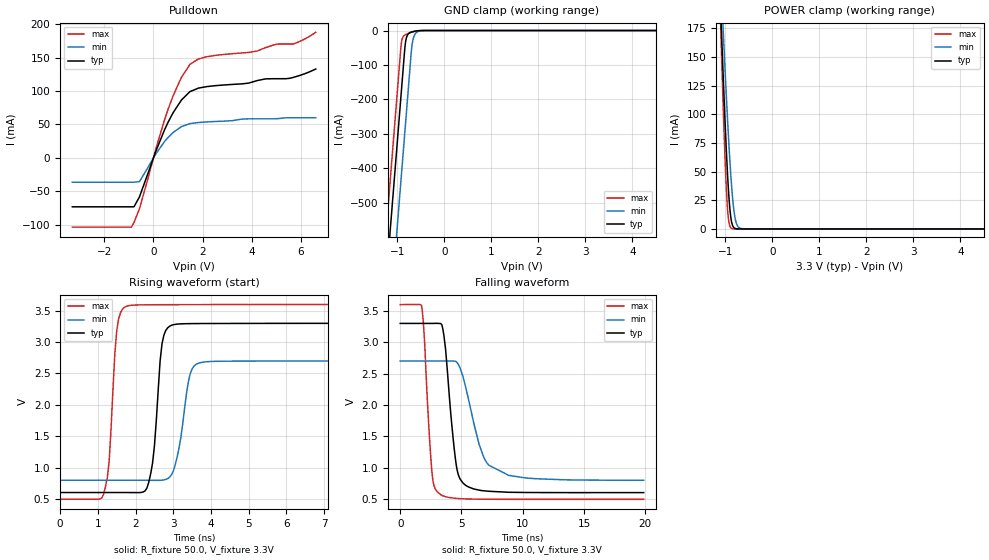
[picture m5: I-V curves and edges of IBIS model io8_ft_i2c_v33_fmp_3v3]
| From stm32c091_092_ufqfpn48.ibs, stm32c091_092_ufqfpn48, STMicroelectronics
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[Model]   io8_ft_i2c_v33_fmp_3v3
Model_type I/O_open_drain
Polarity   Non-Inverting
Enable   Active-Low
| CAP_THRESHOLD on pad IOFT is "UDTCAPC" :
| Rising=30.0% of vddiom   Falling=70.0% of vddiom
| C_comp min and max val. don't necessarily correlate with the min and max pvt
| but are the smallest and greatest pad capacitance found.
| var   typ   min   max
C_comp   2.42225pF  2.36943pF  2.43852pF
|C_comp_pulldown   2.42225pF  2.36943pF  2.43852pF
Vinl = 1.35V
Vinh = 1.8V
Vmeas = 1.65V   | Reference voltage for timing measurements
Cref  = 50.0pF   | Timing specification test load capacitance value
Rref  = 1.0MOhm   | Timing specification test load resistance value
Vref  = 1.815V   | Timing specification test load voltage
[Model Spec]
| TIME_THRESHOLD on pin ZII2CV12 is "CMOS" :
| Rising=50.0% of vdd   Falling=50.0% of vdd
Vinl 1.34770V 1.11370V 1.44970V
Vinh 1.77530V 1.49530V 1.90330V
| variable   typ   min   max
[Temperature Range] 25.0 125.0 -40.0
| variable   typ   min   max
[Voltage Range] 3.3V 2.7V 3.6V
| variable   typ   min   max
[POWER Clamp Reference] 3.3V 2.7V 3.6V
| variable   typ   min   max
[GND Clamp Reference] 0V 0V 0V
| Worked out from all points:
|   slope of the pulldown table from 0 to 0.495 V, typ, clamps not added: 10.9 ohm
|   GND clamp passes 1 mA (typ) near -0.58 V on its own axis
|   POWER clamp passes 1 mA (typ) near -0.81 V on its own axis
|   rising waveform, R_fixture 50.0, V_fixture 3.3V: 20-80 % time 199ps typ, 282ps min, 172ps max; typ from 0.603 V to 3.3 V
|   falling waveform, R_fixture 50.0, V_fixture 3.3V: 20-80 % time 749ps typ, 1.5ns min, 520ps max; typ from 3.3 V to 0.603 V
[POWER Clamp]
-3.3V     2.991A     2.543A     3.694A
-1.1V     191.1mA    222.7mA    177.1mA
-1.08V    169mA      204.2mA    149.9mA
-1.05V    136.9mA    176.9mA    110.9mA
-1.01V    96.55mA    141.6mA    64.02mA
-970mV    60.39mA    108.2mA    27.41mA
-930mV    31.08mA    77.43mA    7.282mA
-900mV    15.67mA    56.69mA    2.025mA
-860mV    4.779mA    33.42mA    315.2uA
-780mV    272.1uA    6.953mA    6.98uA
-670mV    4.467uA    374.2uA    36.58nA
6.6V      0A         0A         0A
[GND Clamp]
-3.3V     -4.227A    -4.472A    -4.082A
-1.25V    -742.2mA   -986.7mA   -597.4mA
-930mV    -198.2mA   -442.7mA   -53.39mA
-920mV    -181.2mA   -425.7mA   -39.67mA
-890mV    -130.2mA   -374.7mA   -20.93mA
-830mV    -35.33mA   -272.7mA   -12.06mA
-790mV    -14.13mA   -204.7mA   -9.442mA
-720mV    -5.312mA   -85.66mA   -5.702mA
-690mV    -3.888mA   -42.66mA   -4.338mA
-650mV    -2.529mA   -17.47mA   -2.784mA
-480mV    -113.2uA   -479.8uA   -69.15uA
6.6V      942.9pA    93.37nA    678.9pA
| variable   typ   min   max
[Pullup Reference] 3.3V 2.7V 3.6V
| variable   typ   min   max
[Pulldown Reference] 0V 0V 0V
[Pulldown]
-3.3V     -73.23mA   -36.43mA   -103.7mA
-890mV    -73.23mA   -36.43mA   -103.1mA
-790mV    -73.08mA   -36.43mA   -96.56mA
-570mV    -58.43mA   -35.54mA   -76.22mA
120mV     12.17mA    7.266mA    16.35mA
600mV     53.75mA    30.83mA    73.34mA
1.14V     86.74mA    46.88mA    120.9mA
1.48V     99.14mA    51.31mA    139.9mA
2.17V     106.7mA    53.87mA    151.5mA
5.07V     118.6mA    58.8mA     170.5mA
5.69V     120.5mA    60.1mA     170.5mA
6.6V      133.1mA    60.1mA     188mA
[Ramp]
dV/dt_r 1.61843V/192.1605ps 1.14072V/279.70643ps 1.8627V/167.58388ps
dV/dt_f 1.61846V/748.07333ps 1.14061V/1.49622ns 1.86273V/519.17489ps
R_load = 50.0
| Removed startup time: 0s 0s 0s  .
| Removed end time: 19.85ns.
[Rising Waveform]
R_fixture   = 50.0
V_fixture   = 3.3V
V_fixture_min = 2.7V
V_fixture_max = 3.6V
0s        602.6mV    798.7mV    495.5mV
1.15ns    602.6mV    798.7mV    567.3mV
1.3ns     602.6mV    798.7mV    1.108V
1.5ns     602.5mV    798.7mV    3.182V
1.8ns     602.2mV    798.5mV    3.579V
2.35ns    767mV      797.6mV    3.595V
2.7ns     2.971V     800mV      3.597V
3ns       3.277V     943.2mV    3.597V
3.75ns    3.296V     2.677V     3.598V
19.85ns   3.3V       2.7V       3.6V
| Removed startup time: 0s 0s 0s  .
| Removed end time: 19.875ns.
[Falling Waveform]
R_fixture   = 50.0
V_fixture   = 3.3V
V_fixture_min = 2.7V
V_fixture_max = 3.6V
0s        3.3V       2.7V       3.6V
1.75ns    3.3V       2.7V       3.569V
2.6ns     3.3V       2.7V       909mV
3.3ns     3.299V     2.7V       569.9mV
3.7ns     2.892V     2.7V       538.2mV
4.575ns   1.043V     2.689V     510.5mV
5.3ns     725.1mV    2.318V     502.4mV
6.425ns   643.1mV    1.382V     497.8mV
7.225ns   624.1mV    1.041V     496.7mV
19.88ns   602.6mV    799mV      495.5mV
